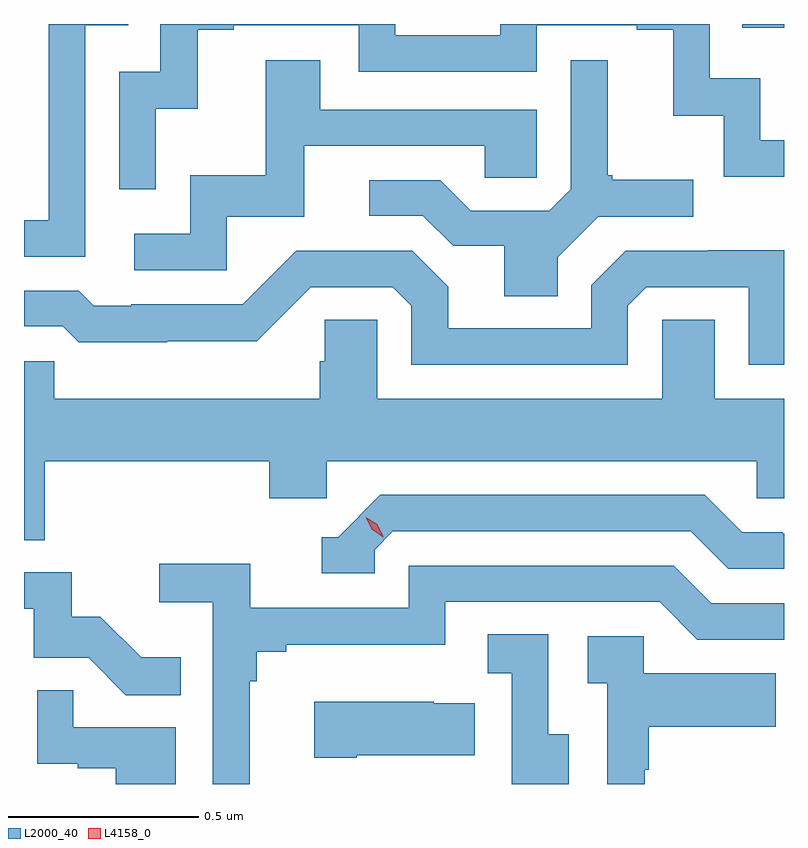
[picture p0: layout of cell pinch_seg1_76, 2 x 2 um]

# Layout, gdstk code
import gdstk
lib = gdstk.Library(unit=1e-6, precision=1e-09)
def R(c, l, rs):  # rectangles x0, y0, x1, y1
    for r in rs: c.add(gdstk.rectangle(r[:2], r[2:], *l))
def P(c, l, *ps):  # polygons
    for p in ps: c.add(gdstk.Polygon(p, *l))
L2000_40 = (2000, 40)
L4158_0 = (4158, 0)

pinch_seg1_76 = lib.new_cell('pinch_seg1_76')
R(pinch_seg1_76, L2000_40, [(1048.111,576.848,1048.221,576.858)])
P(pinch_seg1_76, L2000_40, [(1046.382,576.855),(1046.495,576.855),(1046.495,576.858),(1046.286,576.858),(1046.286,576.342),(1046.221,576.342),(1046.221,576.246),(1046.382,576.246)],
  [(1046.568,576.635),(1046.678,576.635),(1046.678,576.843),(1046.773,576.843),(1046.773,576.855),(1047.102,576.855),(1047.102,576.732),(1047.57,576.732),(1047.57,576.855),(1047.833,576.855),(1047.833,576.843),(1047.929,576.843),(1047.929,576.617),(1048.062,576.617),(1048.062,576.456),(1048.221,576.456),(1048.221,576.552),(1048.158,576.552),(1048.158,576.715),(1048.026,576.715),(1048.026,576.858),(1047.474,576.858),(1047.474,576.828),(1047.198,576.828),(1047.198,576.858),(1046.58,576.858),(1046.58,576.732),(1046.472,576.732),(1046.472,576.423),(1046.568,576.423)],
  [(1047.625,576.244),(1047.732,576.351),(1047.982,576.351),(1047.982,576.448),(1047.769,576.448),(1047.769,576.46),(1047.757,576.46),(1047.757,576.763),(1047.66,576.763),(1047.66,576.423),(1047.603,576.366),(1047.397,576.366),(1047.316,576.447),(1047.129,576.447),(1047.129,576.354),(1047.27,576.354),(1047.35,576.274),(1047.485,576.274),(1047.485,576.142),(1047.625,576.142)],
  [(1046.754,576.351),(1046.959,576.351),(1046.959,576.537),(1047.433,576.537),(1047.433,576.453),(1047.57,576.453),(1047.57,576.633),(1047.001,576.633),(1047.001,576.763),(1046.857,576.763),(1046.857,576.46),(1046.658,576.46),(1046.658,576.306),(1046.511,576.306),(1046.511,576.21),(1046.754,576.21)],
  [(1047.81,576.117),(1047.858,576.165),(1048.128,576.165),(1048.128,575.961),(1048.221,575.961),(1048.221,576.263),(1048.02,576.263),(1048.02,576.261),(1047.804,576.261),(1047.714,576.171),(1047.714,576.057),(1047.337,576.057),(1047.337,576.167),(1047.243,576.261),(1046.937,576.261),(1046.796,576.12),(1046.503,576.12),(1046.503,576.117),(1046.404,576.117),(1046.365,576.156),(1046.221,576.156),(1046.221,576.063),(1046.323,576.063),(1046.365,576.021),(1046.598,576.021),(1046.598,576.023),(1046.834,576.023),(1046.976,576.165),(1047.192,576.165),(1047.24,576.117),(1047.24,575.961),(1047.81,575.961)],
  [(1046.276,575.708),(1046.867,575.708),(1046.867,575.61),(1047.018,575.61),(1047.018,575.708),(1048.149,575.708),(1048.149,575.61),(1048.221,575.61),(1048.221,575.872),(1048.039,575.872),(1048.039,576.08),(1047.9,576.08),(1047.9,575.872),(1047.15,575.872),(1047.15,576.08),(1047.013,576.08),(1047.013,575.97),(1046.999,575.97),(1046.999,575.872),(1046.301,575.872),(1046.301,575.97),(1046.221,575.97),(1046.221,575.5),(1046.276,575.5)],
  [(1047.144,575.475),(1047.192,575.523),(1047.975,575.523),(1048.074,575.424),(1048.221,575.424),(1048.221,575.517),(1048.218,575.517),(1048.218,575.52),(1048.111,575.52),(1048.012,575.619),(1047.159,575.619),(1047.048,575.508),(1047.005,575.508),(1047.005,575.412),(1047.144,575.412)],
  [(1046.815,575.129),(1046.834,575.129),(1046.834,575.206),(1046.911,575.206),(1046.911,575.225),(1047.33,575.225),(1047.33,575.337),(1047.894,575.337),(1047.993,575.238),(1048.221,575.238),(1048.221,575.334),(1048.03,575.334),(1047.931,575.433),(1047.234,575.433),(1047.234,575.322),(1046.816,575.322),(1046.816,575.438),(1046.577,575.438),(1046.577,575.336),(1046.718,575.336),(1046.718,574.858),(1046.815,574.858)],
  [(1046.633,575.191),(1046.529,575.191),(1046.422,575.298),(1046.346,575.298),(1046.346,575.415),(1046.221,575.415),(1046.221,575.319),(1046.247,575.319),(1046.247,575.19),(1046.391,575.19),(1046.489,575.092),(1046.633,575.092)],
  [(1047.655,574.989),(1047.6,574.989),(1047.6,575.252),(1047.441,575.252),(1047.441,575.149),(1047.504,575.149),(1047.504,574.858),(1047.655,574.858)],
  [(1047.855,574.895),(1047.865,574.895),(1047.865,575.009),(1048.199,575.009),(1048.199,575.149),(1047.852,575.149),(1047.852,575.247),(1047.705,575.247),(1047.705,575.123),(1047.756,575.123),(1047.756,574.858),(1047.855,574.858)],
  [(1046.62,575.007),(1046.351,575.007),(1046.351,575.105),(1046.256,575.105),(1046.256,574.911),(1046.363,574.911),(1046.363,574.899),(1046.462,574.899),(1046.462,574.858),(1046.62,574.858)],
  [(1047.097,574.934),(1047.407,574.934),(1047.407,575.071),(1047.299,575.071),(1047.299,575.074),(1046.985,575.074),(1046.985,574.927),(1047.097,574.927)])
P(pinch_seg1_76, L4158_0, [(1047.167,575.508),(1047.136,575.528),(1047.12,575.56),(1047.12,575.56),(1047.12,575.56),(1047.151,575.541),(1047.167,575.509),(1047.167,575.508)])

lib.write_gds('pinch_seg1_76.gds')
